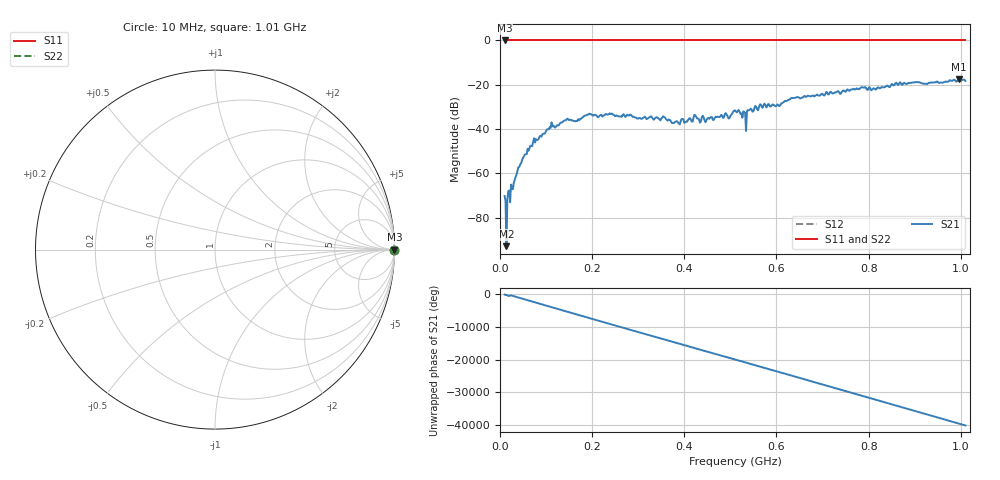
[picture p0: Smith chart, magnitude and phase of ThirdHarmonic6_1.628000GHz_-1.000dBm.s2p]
! 8/16/2025 7:27:30 PM
! C:\ANRITSUVNA\TEMP\TEMP.S2P
! CHANNEL.1
! TR.MEASUREMENT
! RAW.DATA
! RF.CORRECTION.OFF
! AVERAGING.OFF
! IF.BANDWIDTH: 5KHZ
! SWEEPTYPE:  FREQ.SWEEP(Linear)
! Reference Plane Port Info
! PORT:  PORT1  PORT2
! DISTANCE:  0  m  0  m
! TIME:  0  s  0  s
! PHASE.OFFSET:  0  deg.  0  deg.
! LOSS:  0  dB  0  dB
! REF.LOSS:  0  dB  0  dB
! REF.FREQ:  0  Hz  0  Hz
! Power Info
! POWER:  -20  dBm  -20  dBm
! EFF.POWER:  -20  dBm  -20  dBm
! SOURCE.ATTEN:  0  dB  0  dB
! TEST.ATTEN:  0  dB  0  dB
# GHZ S RI R 50.0
! FREQ.GHZ  S11RE  S11IM  S21RE  S21IM  S12RE  S12IM  S22RE  S22IM
!; PortSelection: Port_12
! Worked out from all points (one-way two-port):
!   501 points, 10 MHz to 1.01 GHz, reference 50 ohm
!   highest |S21| = -17.37 dB at 996 MHz (marker M1); lowest = -92.9 dB at 14 MHz (marker M2)
!   lowest |S11| = 0.0 dB at 10 MHz (marker M3)
!   |S11| at or under -10 dB: nowhere
!   |S22| runs from 0.0 to 0.0 dB; largest |S21 - S12| = 1.1
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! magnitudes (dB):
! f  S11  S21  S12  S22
! 10 MHz  0.0  -70.3  0.0  0.0
! 14 MHz  0.0  -92.9  0.0  0.0
! 18 MHz  0.0  -68.0  0.0  0.0
! 20 MHz  0.0  -67.8  0.0  0.0
! 50 MHz  0.0  -53.1  0.0  0.0
! 76 MHz  0.0  -46.1  0.0  0.0
! 112 MHz  0.0  -37.0  0.0  0.0
! 178 MHz  0.0  -34.9  0.0  0.0
! 240 MHz  0.0  -33.2  0.0  0.0
! 344 MHz  0.0  -35.2  0.0  0.0
! 388 MHz  0.0  -37.5  0.0  0.0
! 424 MHz  0.0  -33.8  0.0  0.0
! 432 MHz  0.0  -35.7  0.0  0.0
! 498 MHz  0.0  -35.1  0.0  0.0
! 510 MHz  0.0  -31.6  0.0  0.0
! 530 MHz  0.0  -32.3  0.0  0.0
! 540 MHz  0.0  -31.5  0.0  0.0
! 568 MHz  0.0  -29.9  0.0  0.0
! 678 MHz  0.0  -25.0  0.0  0.0
! 844 MHz  0.0  -21.0  0.0  0.0
! 996 MHz  0.0  -17.4  0.0  0.0
! 1.01 GHz  0.0  -18.3  0.0  0.0
